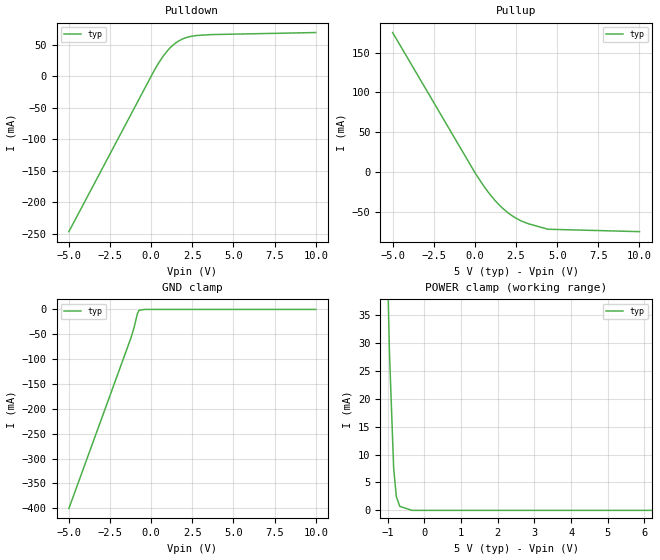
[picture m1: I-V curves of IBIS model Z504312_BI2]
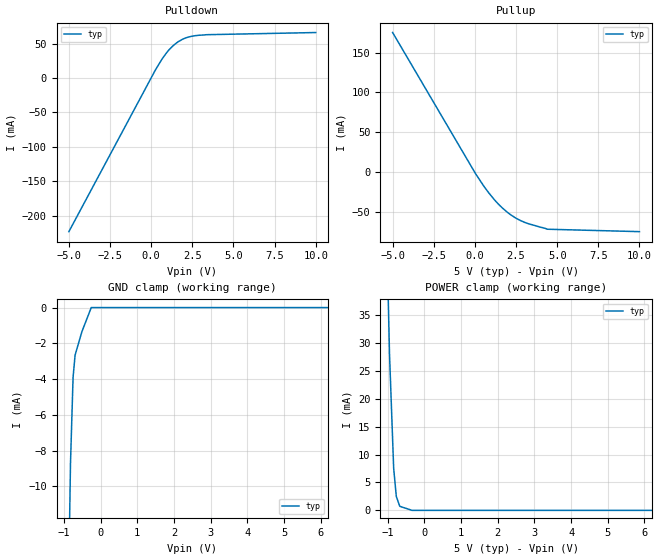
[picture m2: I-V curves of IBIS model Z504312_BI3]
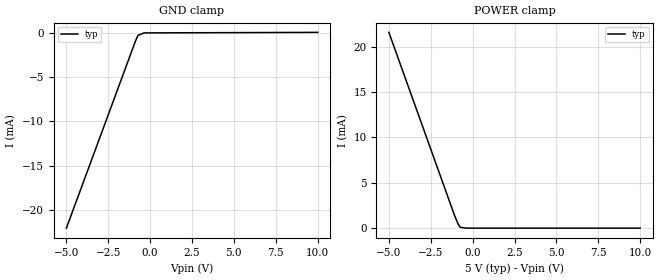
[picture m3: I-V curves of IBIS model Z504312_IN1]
| YOU ARE ONLY AUTHORIZED TO USE THIS SOFTWARE
| ACCORDING TO LICENSOR'S LICENSE RESTRICTIONS.
[IBIS Ver] 3.1
[File Name] mc74hct245adw.ibs
[File Rev] 2.0
[Source] Measured and created by ICX Technology
[Date] Friday 7/14/00 9:08:11 AM
[Copyright]
| (C) COPYRIGHT 1993-2000
| MENTOR GRAPHICS CORPORATION
| ICX STANDARD LIBRARY, ICX PROJECT MODELING,
| ICX CUSTOM MODELING, ICX VENDOR MODEL
| ALL RIGHTS RESERVED.
| THE FOLLOWING ARE TRADEMARKS OR SERVICE MARKS OF
| MENTOR GRAPHICS CORPORATION:ICX (R), ICX STANDARD
| LIBRARY(R), ICX PROJECT MODELING(R), ICX CUSTOM
| MODELING(R), qualityIBIS(TM), MODELVIEWER(TM),
| AND MODELEDITOR(TM)
| ALL COPIES OF SOFTWARE, INCLUDING BUT NOT LIMITED TO
| ANY MODIFICATIONS, ENHANCEMENTS OR DERIVATIVE WORKS,
| MUST CONTAIN ALL MENTOR GRAPHICS CORPORATION'S
| NOTICES AND LEGENDS, INCLUDING THOSE EMBEDDED IN
| SOFTWARE AND THOSE AFFIXED TO SOFTWARE MEDIUM
| AND CONTAINER, AS RECEIVED FROM MENTOR GRAPHICS
| CORPORATION.
|  ZAP Model Builder 2.7
[Component] MC74HCT245ADW
[Manufacturer] OnSemiconductor
[Package]
| variable   typ   min   max
R_pkg  .178ohms NA NA
L_pkg  4.43nH NA NA
C_pkg  .62pF NA NA
[Pin] signal_name  model_name  R_pin  L_pin C_pin
1 DIR Z504312_IN1 .186 5.37n .68p
2 A0 Z504312_BI2 .182 4.89n .65p
3 A1 Z504312_BI2 .178 4.42n .62p
4 A2 Z504312_BI2 .174 3.96n .59p
5 A3 Z504312_BI2 .17 3.51n .56p
6 A4 Z504312_BI2 .17 3.51n .56p
7 A5 Z504312_BI2 .174 3.96n .59p
8 A6 Z504312_BI2 .178 4.42n .62p
9 A7 Z504312_BI2 .182 4.89n .65p
10 GROUND GND .186 5.37n .68p
11 B7 Z504312_BI3 .186 5.37n .68p
12 B6 Z504312_BI3 .182 4.89n .65p
13 B5 Z504312_BI3 .178 4.42n .62p
14 B4 Z504312_BI3 .174 3.96n .59p
15 B3 Z504312_BI3 .17 3.51n .56p
16 B2 Z504312_BI3 .17 3.51n .56p
17 B1 Z504312_BI3 .174 3.96n .59p
18 B0 Z504312_BI3 .178 4.42n .62p
19 _G Z504312_IN4 .182 4.89n .65p
20 VCC POWER .186 5.37n .68p
| Models and submodels in the file (4): Z504312_BI2 (I/O), Z504312_BI3 (I/O), Z504312_IN1 (Input), Z504312_IN4 (Input)
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| (C) COPYRIGHT 1993-2000
| MENTOR GRAPHICS CORPORATION
| ICX STANDARD LIBRARY, ICX PROJECT MODELING,
| ICX CUSTOM MODELING, ICX VENDOR MODEL
| ALL RIGHTS RESERVED.
| THE FOLLOWING ARE TRADEMARKS OR SERVICE MARKS OF
| MENTOR GRAPHICS CORPORATION:ICX (R), ICX STANDARD
| LIBRARY(R), ICX PROJECT MODELING(R), ICX CUSTOM
| MODELING(R), qualityIBIS(TM), MODELVIEWER(TM),
| AND MODELEDITOR(TM)
| ALL COPIES OF SOFTWARE, INCLUDING BUT NOT LIMITED TO
| ANY MODIFICATIONS, ENHANCEMENTS OR DERIVATIVE WORKS,
| MUST CONTAIN ALL MENTOR GRAPHICS CORPORATION'S
| NOTICES AND LEGENDS, INCLUDING THOSE EMBEDDED IN
| SOFTWARE AND THOSE AFFIXED TO SOFTWARE MEDIUM
| AND CONTAINER, AS RECEIVED FROM MENTOR GRAPHICS
| CORPORATION.
| Model Application Version 1.89 2/18/99.
[Model] Z504312_BI2
Model_type I/O
Vinl=800.0mV
Vinh=2.000V
Vref=0.000V
Rref=500.0Mohms
Cref=50.00pF
Vmeas=1.300V
C_comp 8.000pF NA NA
| variable typ   min   max
[Voltage Range] 5.000V NA NA
[POWER Clamp Reference] 5.000V NA NA
[Pullup Reference] 5.000V NA NA
[Pulldown Reference] 0.000V NA NA
[GND Clamp Reference] 0.000V NA NA
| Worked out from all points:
|   slope of the pulldown table from 0 to 0.75 V, typ, clamps not added: 23.1 ohm
|   slope of the pullup table from 0 to 0.75 V, typ, clamps not added: 32.7 ohm
|   POWER clamp passes 1 mA (typ) near -0.68 V on its own axis
[GND Clamp]
-5V       -400.4mA   NA         NA
-1.22V    -56.62mA   NA         NA
-1.032V   -35.74mA   NA         NA
-834.8mV  -8.28mA    NA         NA
-731.8mV  -1.581mA   NA         NA
-365.9mV  0A         NA         NA
10V       0A         NA         NA
[Pulldown]
-5V       -246.7mA   NA         NA
197.6mV   9.643mA    NA         NA
732.8mV   31.85mA    NA         NA
1.021V    41.38mA    NA         NA
1.309V    48.86mA    NA         NA
1.899V    58.99mA    NA         NA
2.275V    62.38mA    NA         NA
2.813V    64.66mA    NA         NA
10V       69.26mA    NA         NA
[Pullup]
-5V       175.3mA    NA         NA
39mV      -2.246mA   NA         NA
545mV     -18.08mA   NA         NA
1.202V    -35.49mA   NA         NA
2.002V    -51.31mA   NA         NA
2.492V    -58.2mA    NA         NA
3.027V    -63.51mA   NA         NA
4.398V    -72.13mA   NA         NA
10V       -75.17mA   NA         NA
[POWER Clamp]
-5V       1.401A     NA         NA
-1.098V   70.39mA    NA         NA
-948mV    27.93mA    NA         NA
-835mV    7.519mA    NA         NA
-763mV    2.485mA    NA         NA
-669mV    726.1uA    NA         NA
-334.5mV  0A         NA         NA
10V       0A         NA         NA
[Ramp]
| variable typ min max
dV/dt_r 2.837/1.943n NA NA
dV/dt_f 2.837/1.769n NA NA
R_load = 500.0Ohms
| (C) COPYRIGHT 1993-2000
| MENTOR GRAPHICS CORPORATION
| ICX STANDARD LIBRARY, ICX PROJECT MODELING,
| ICX CUSTOM MODELING, ICX VENDOR MODEL
| ALL RIGHTS RESERVED.
| THE FOLLOWING ARE TRADEMARKS OR SERVICE MARKS OF
| MENTOR GRAPHICS CORPORATION:ICX (R), ICX STANDARD
| LIBRARY(R), ICX PROJECT MODELING(R), ICX CUSTOM
| MODELING(R), qualityIBIS(TM), MODELVIEWER(TM),
| AND MODELEDITOR(TM)
| ALL COPIES OF SOFTWARE, INCLUDING BUT NOT LIMITED TO
| ANY MODIFICATIONS, ENHANCEMENTS OR DERIVATIVE WORKS,
| MUST CONTAIN ALL MENTOR GRAPHICS CORPORATION'S
| NOTICES AND LEGENDS, INCLUDING THOSE EMBEDDED IN
| SOFTWARE AND THOSE AFFIXED TO SOFTWARE MEDIUM
| AND CONTAINER, AS RECEIVED FROM MENTOR GRAPHICS
| CORPORATION.
| Model Application Version 1.89 2/18/99.
[Model] Z504312_BI3
Model_type I/O
Vinl=800.0mV
Vinh=2.000V
Vref=0.000V
Rref=500.0Mohms
Cref=50.00pF
Vmeas=1.300V
C_comp 8.000pF NA NA
| variable typ   min   max
[Voltage Range] 5.000V NA NA
[POWER Clamp Reference] 5.000V NA NA
[Pullup Reference] 5.000V NA NA
[Pulldown Reference] 0.000V NA NA
[GND Clamp Reference] 0.000V NA NA
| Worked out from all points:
|   slope of the pulldown table from 0 to 0.75 V, typ, clamps not added: 24.6 ohm
|   slope of the pullup table from 0 to 0.75 V, typ, clamps not added: 32.7 ohm
|   POWER clamp passes 1 mA (typ) near -0.68 V on its own axis
[GND Clamp]
-5V       -415.1mA   NA         NA
-1.153V   -52.72mA   NA         NA
-819.6mV  -8.728mA   NA         NA
-748.9mV  -3.897mA   NA         NA
-694mV    -2.659mA   NA         NA
-507.5mV  -1.342mA   NA         NA
-253.7mV  0A         NA         NA
10V       0A         NA         NA
[Pulldown]
-5V       -223.3mA   NA         NA
273.4mV   12.35mA    NA         NA
673.9mV   28.05mA    NA         NA
903.9mV   35.66mA    NA         NA
1.099V    41.37mA    NA         NA
1.509V    50.43mA    NA         NA
2.1V      58.3mA     NA         NA
2.973V    62.28mA    NA         NA
10V       66.11mA    NA         NA
[Pullup]
-5V       175.3mA    NA         NA
39mV      -2.246mA   NA         NA
545mV     -18.08mA   NA         NA
1.202V    -35.49mA   NA         NA
2.002V    -51.31mA   NA         NA
2.492V    -58.2mA    NA         NA
3.027V    -63.51mA   NA         NA
4.398V    -72.13mA   NA         NA
10V       -75.17mA   NA         NA
[POWER Clamp]
-5V       1.401A     NA         NA
-1.098V   70.39mA    NA         NA
-948mV    27.93mA    NA         NA
-835mV    7.519mA    NA         NA
-763mV    2.485mA    NA         NA
-669mV    726.1uA    NA         NA
-334.5mV  0A         NA         NA
10V       0A         NA         NA
[Ramp]
| variable typ min max
dV/dt_r 2.840/1.862n NA NA
dV/dt_f 2.840/1.721n NA NA
R_load = 500.0Ohms
| (C) COPYRIGHT 1993-2000
| MENTOR GRAPHICS CORPORATION
| ICX STANDARD LIBRARY, ICX PROJECT MODELING,
| ICX CUSTOM MODELING, ICX VENDOR MODEL
| ALL RIGHTS RESERVED.
| THE FOLLOWING ARE TRADEMARKS OR SERVICE MARKS OF
| MENTOR GRAPHICS CORPORATION:ICX (R), ICX STANDARD
| LIBRARY(R), ICX PROJECT MODELING(R), ICX CUSTOM
| MODELING(R), qualityIBIS(TM), MODELVIEWER(TM),
| AND MODELEDITOR(TM)
| ALL COPIES OF SOFTWARE, INCLUDING BUT NOT LIMITED TO
| ANY MODIFICATIONS, ENHANCEMENTS OR DERIVATIVE WORKS,
| MUST CONTAIN ALL MENTOR GRAPHICS CORPORATION'S
| NOTICES AND LEGENDS, INCLUDING THOSE EMBEDDED IN
| SOFTWARE AND THOSE AFFIXED TO SOFTWARE MEDIUM
| AND CONTAINER, AS RECEIVED FROM MENTOR GRAPHICS
| CORPORATION.
| Model Application Version 1.89 2/18/99.
[Model] Z504312_IN1
Model_type Input
Vinl = 800.0mV
Vinh = 2.000V
C_comp 4.000pF NA NA
| variable typ   min   max
[Voltage Range] 5.000V NA NA
[GND Clamp Reference] 0.000V NA NA
[POWER Clamp Reference] 5.000V NA NA
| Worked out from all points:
|   POWER clamp passes 1 mA (typ) near -0.99 V on its own axis
[GND Clamp]
-5V       -22.06mA   NA         NA
-878.8mV  -965.2uA   NA         NA
-727.8mV  -314.9uA   NA         NA
-363.9mV  -28.93uA   NA         NA
10V       31.02uA    NA         NA
[POWER Clamp]
-5V       21.59mA    NA         NA
-1.096V   1.481mA    NA         NA
-887mV    526uA      NA         NA
-751mV    99.66uA    NA         NA
-375.5mV  0A         NA         NA
10V       0A         NA         NA
